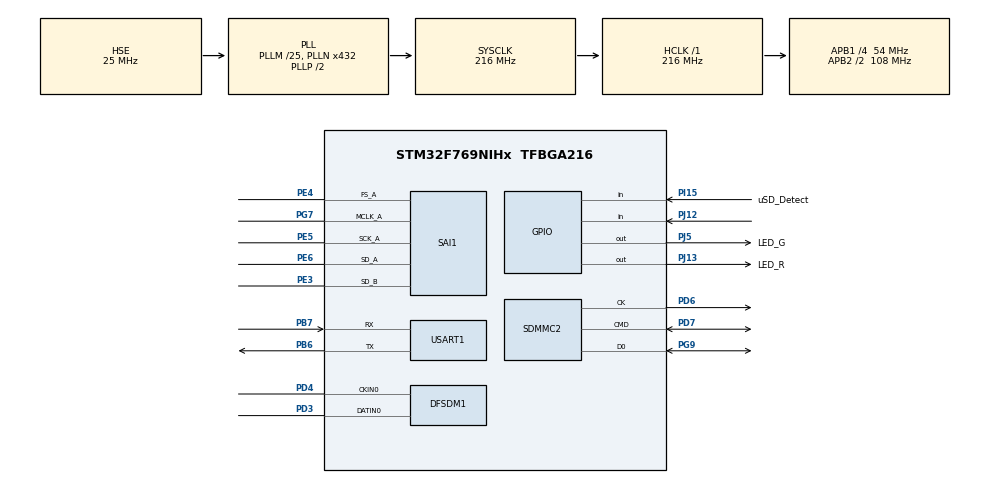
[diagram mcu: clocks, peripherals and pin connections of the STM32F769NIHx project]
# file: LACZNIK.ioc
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DFSDM1.FastMode_reg_FIL0=ENABLE
DFSDM1.FilterOrder_CH0=DFSDM_CHANNEL_FASTSINC_ORDER
DFSDM1.Filter_regChannel_FIL0=DFSDM_CHANNEL_0
DFSDM1.Fosr_FIL0=64
Dma.Request0=SDMMC2_RX
Dma.Request1=SDMMC2_TX
Dma.Request2=SAI1_A
Dma.Request3=SAI1_B
Dma.SAI1_A.2.Direction=DMA_MEMORY_TO_PERIPH
Dma.SAI1_A.2.FIFOMode=DMA_FIFOMODE_ENABLE
Dma.SAI1_A.2.FIFOThreshold=DMA_FIFO_THRESHOLD_FULL
Dma.SAI1_A.2.Instance=DMA2_Stream1
Dma.SAI1_A.2.MemBurst=DMA_MBURST_SINGLE
Dma.SAI1_A.2.MemDataAlignment=DMA_MDATAALIGN_HALFWORD
Dma.SAI1_A.2.MemInc=DMA_MINC_ENABLE
Dma.SAI1_A.2.Mode=DMA_CIRCULAR
Dma.SAI1_A.2.PeriphBurst=DMA_PBURST_SINGLE
Dma.SAI1_A.2.PeriphDataAlignment=DMA_PDATAALIGN_HALFWORD
Dma.SAI1_A.2.PeriphInc=DMA_PINC_DISABLE
Dma.SAI1_A.2.Priority=DMA_PRIORITY_HIGH
Dma.SAI1_B.3.Direction=DMA_PERIPH_TO_MEMORY
Dma.SAI1_B.3.FIFOMode=DMA_FIFOMODE_DISABLE
Dma.SAI1_B.3.Instance=DMA2_Stream4
Dma.SAI1_B.3.MemDataAlignment=DMA_MDATAALIGN_HALFWORD
Dma.SAI1_B.3.MemInc=DMA_MINC_ENABLE
Dma.SAI1_B.3.Mode=DMA_CIRCULAR
Dma.SAI1_B.3.PeriphDataAlignment=DMA_PDATAALIGN_HALFWORD
Dma.SAI1_B.3.PeriphInc=DMA_PINC_DISABLE
Dma.SAI1_B.3.Priority=DMA_PRIORITY_HIGH
Dma.SDMMC2_RX.0.Direction=DMA_PERIPH_TO_MEMORY
Dma.SDMMC2_RX.0.FIFOMode=DMA_FIFOMODE_ENABLE
Dma.SDMMC2_RX.0.FIFOThreshold=DMA_FIFO_THRESHOLD_FULL
Dma.SDMMC2_RX.0.Instance=DMA2_Stream0
Dma.SDMMC2_RX.0.MemBurst=DMA_MBURST_INC4
Dma.SDMMC2_RX.0.MemDataAlignment=DMA_MDATAALIGN_WORD
Dma.SDMMC2_RX.0.MemInc=DMA_MINC_ENABLE
Dma.SDMMC2_RX.0.Mode=DMA_PFCTRL
Dma.SDMMC2_RX.0.PeriphBurst=DMA_PBURST_INC4
Dma.SDMMC2_RX.0.PeriphDataAlignment=DMA_PDATAALIGN_WORD
Dma.SDMMC2_RX.0.PeriphInc=DMA_PINC_DISABLE
Dma.SDMMC2_RX.0.Priority=DMA_PRIORITY_LOW
Dma.SDMMC2_TX.1.Direction=DMA_MEMORY_TO_PERIPH
Dma.SDMMC2_TX.1.FIFOMode=DMA_FIFOMODE_ENABLE
Dma.SDMMC2_TX.1.FIFOThreshold=DMA_FIFO_THRESHOLD_FULL
Dma.SDMMC2_TX.1.Instance=DMA2_Stream5
Dma.SDMMC2_TX.1.MemBurst=DMA_MBURST_INC4
Dma.SDMMC2_TX.1.MemDataAlignment=DMA_MDATAALIGN_WORD
Dma.SDMMC2_TX.1.MemInc=DMA_MINC_ENABLE
Dma.SDMMC2_TX.1.Mode=DMA_PFCTRL
Dma.SDMMC2_TX.1.PeriphBurst=DMA_PBURST_INC4
Dma.SDMMC2_TX.1.PeriphDataAlignment=DMA_PDATAALIGN_WORD
Dma.SDMMC2_TX.1.PeriphInc=DMA_PINC_DISABLE
Dma.SDMMC2_TX.1.Priority=DMA_PRIORITY_LOW
FATFS.BSP.number=1
FATFS.USE_DMA_CODE_SD=1
FATFS0.BSP.STBoard=false
FATFS0.BSP.api=Unknown
FATFS0.BSP.instance=PI15
FATFS0.BSP.ip=GPIO
FATFS0.BSP.mode=Input
FATFS0.BSP.name=Detect_SDIO
FATFS0.BSP.solution=PI15
FREERTOS.INCLUDE_uxTaskGetStackHighWaterMark=0
FREERTOS.Queues01=AudioQueue,4,uint8_t,0,Dynamic,NULL,NULL
FREERTOS.Tasks01=SDCardTask,0,1024,StartSDCardTask,Default,NULL,Dynamic,NULL,NULL;GUI_Task,0,128,StartGUI_Task,Default,NULL,Dynamic,NULL,NULL;Record_Task,-3,2048,StartRecordTask,Default,NULL,Dynamic,NULL,NULL
FREERTOS.configTOTAL_HEAP_SIZE=49152
FREERTOS.configUSE_COUNTING_SEMAPHORES=1
FREERTOS.configUSE_NEWLIB_REENTRANT=1
Mcu.Family=STM32F7
Mcu.Name=STM32F769NIHx
Mcu.Package=TFBGA216
NVIC.DFSDM1_FLT0_IRQn=true\:5\:0\:false\:false\:true\:true\:true\:true\:true
NVIC.DMA2_Stream0_IRQn=true\:5\:0\:false\:false\:true\:true\:false\:true\:true
NVIC.DMA2_Stream1_IRQn=true\:5\:0\:false\:false\:true\:true\:false\:true\:true
NVIC.DMA2_Stream4_IRQn=true\:5\:0\:false\:false\:true\:true\:false\:true\:true
NVIC.DMA2_Stream5_IRQn=true\:5\:0\:false\:false\:true\:true\:false\:true\:true
NVIC.PriorityGroup=NVIC_PRIORITYGROUP_4
NVIC.SDMMC2_IRQn=true\:5\:0\:false\:false\:true\:true\:true\:true\:true
PA13.Mode=Serial_Wire
PA13.Signal=SYS_JTMS-SWDIO
PA14.Mode=Serial_Wire
PA14.Signal=SYS_JTCK-SWCLK
PB6.Mode=Asynchronous
PB6.Signal=USART1_TX
PB7.Mode=Asynchronous
PB7.Signal=USART1_RX
PD3.Signal=S_DATAIN0DFSDM1
PD4.Signal=S_CKIN0DFSDM1
PD6.Mode=SD_1_bit
PD6.Signal=SDMMC2_CK
PD7.Mode=SD_1_bit
PD7.Signal=SDMMC2_CMD
PE3.GPIO_Speed=GPIO_SPEED_FREQ_HIGH
PE3.Mode=SAI_B_SyncSlave
PE3.Signal=SAI1_SD_B
PE4.GPIO_Speed=GPIO_SPEED_FREQ_HIGH
PE4.Mode=SAI_A_MasterWithClock
PE4.Signal=SAI1_FS_A
PE5.GPIO_Speed=GPIO_SPEED_FREQ_HIGH
PE5.Mode=SAI_A_MasterWithClock
PE5.Signal=SAI1_SCK_A
PE6.GPIO_Speed=GPIO_SPEED_FREQ_HIGH
PE6.Mode=SAI_A_MasterWithClock
PE6.Signal=SAI1_SD_A
PG7.GPIO_Speed=GPIO_SPEED_FREQ_HIGH
PG7.Mode=SAI_A_MasterWithClock
PG7.Signal=SAI1_MCLK_A
PG9.Mode=SD_1_bit
PG9.Signal=SDMMC2_D0
PH0/OSC_IN.Mode=HSE-External-Oscillator
PH0/OSC_IN.Signal=RCC_OSC_IN
PH1/OSC_OUT.Mode=HSE-External-Oscillator
PH1/OSC_OUT.Signal=RCC_OSC_OUT
PI15.GPIO_Label=uSD_Detect
PI15.GPIO_PuPd=GPIO_PULLUP
PI15.Signal=GPIO_Input
PJ12.Signal=GPIO_Input
PJ13.GPIO_Label=LED_R
PJ13.Signal=GPIO_Output
PJ5.GPIO_Label=LED_G
PJ5.Signal=GPIO_Output
ProjectManager.HeapSize=0x400
ProjectManager.StackSize=0x800
ProjectManager.TargetToolchain=STM32CubeIDE
RCC.AHBFreq_Value=216000000
RCC.APB1CLKDivider=RCC_HCLK_DIV4
RCC.APB1Freq_Value=54000000
RCC.APB1TimFreq_Value=108000000
RCC.APB2CLKDivider=RCC_HCLK_DIV2
RCC.APB2Freq_Value=108000000
RCC.APB2TimFreq_Value=216000000
RCC.CortexFreq_Value=216000000
RCC.HCLKFreq_Value=216000000
RCC.HSE_VALUE=25000000
RCC.HSI_VALUE=16000000
RCC.LSE_VALUE=32768
RCC.PLLI2SN=429
RCC.PLLI2SQDiv=19
RCC.PLLM=25
RCC.PLLN=432
RCC.PLLQ=9
RCC.PLLSAIQ=3
RCC.PLLSourceVirtual=RCC_PLLSOURCE_HSE
RCC.SAI1CLockSelection=RCC_SAI1CLKSOURCE_PLLI2S
RCC.SDMMC2ClockSelection=RCC_SDMMC2CLKSOURCE_CLK48
RCC.SYSCLKFreq_VALUE=216000000
RCC.SYSCLKSource=RCC_SYSCLKSOURCE_PLLCLK
RCC.USBFreq_Value=48000000
RCC.VCOOutputFreq_Value=432000000
SAI1.ActiveFrameLength-SAI_A_MasterWithClock=32
SAI1.ActiveFrameLength-SAI_B_SyncSlave=32
SAI1.AudioFrequency-SAI_A_MasterWithClock=SAI_AUDIO_FREQUENCY_44K
SAI1.DataSize-SAI_A_MasterWithClock=SAI_DATASIZE_16
SAI1.DataSize-SAI_B_SyncSlave=SAI_DATASIZE_16
SAI1.ErrorAudioFreq-SAI_A_MasterWithClock=0.0 %
SAI1.FIFOThreshold-SAI_A_MasterWithClock=SAI_FIFOTHRESHOLD_1QF
SAI1.FIFOThreshold-SAI_B_SyncSlave=SAI_FIFOTHRESHOLD_1QF
SAI1.FSDefinition-SAI_A_MasterWithClock=SAI_FS_CHANNEL_IDENTIFICATION
SAI1.FSDefinition-SAI_B_SyncSlave=SAI_FS_CHANNEL_IDENTIFICATION
SAI1.FSOffset-SAI_A_MasterWithClock=SAI_FS_BEFOREFIRSTBIT
SAI1.FSOffset-SAI_B_SyncSlave=SAI_FS_BEFOREFIRSTBIT
SAI1.FrameLength-SAI_A_MasterWithClock=64
SAI1.FrameLength-SAI_B_SyncSlave=64
SAI1.Instance-SAI_A_MasterWithClock=SAI$Index_Block_A
SAI1.Instance-SAI_B_SyncSlave=SAI$Index_Block_B
SAI1.MClockEnable-SAI_A_MasterWithClock=SAI_MASTERCLOCK_ENABLE
SAI1.OutputDrive-SAI_A_MasterWithClock=SAI_OUTPUTDRIVE_ENABLE
SAI1.RealAudioFreq-SAI_A_MasterWithClock=44.099 KHz
SAI1.SlotActive-SAI_A_MasterWithClock=0x0000000F
SAI1.SlotActive-SAI_B_SyncSlave=0x0000000F
SAI1.SlotNumber-SAI_A_MasterWithClock=4
SAI1.SlotNumber-SAI_B_SyncSlave=4
SAI1.TriState-SAI_B_SyncSlave=SAI_OUTPUT_RELEASED
SAI1.VirtualMode-SAI_A_MasterWithClock=VM_MASTER
SAI1.VirtualMode-SAI_B_SyncSlave=VM_SLAVE
SAI1.VirtualSlotActive-SAI_A_MasterWithClock=SAI_SLOT_USERSETTING
SAI1.VirtualSlotActive-SAI_B_SyncSlave=SAI_SLOT_USERSETTING
SAI1.VirtualSlotActive0-SAI_A_MasterWithClock=true
SAI1.VirtualSlotActive0-SAI_B_SyncSlave=true
SAI1.VirtualSlotActive1-SAI_A_MasterWithClock=true
SAI1.VirtualSlotActive1-SAI_B_SyncSlave=true
SAI1.VirtualSlotActive2-SAI_A_MasterWithClock=true
SAI1.VirtualSlotActive2-SAI_B_SyncSlave=true
SAI1.VirtualSlotActive3-SAI_A_MasterWithClock=true
SAI1.VirtualSlotActive3-SAI_B_SyncSlave=true
SH.S_CKIN0DFSDM1.0=DFSDM1_CKIN0,PDM_SPI_input_from_ch0_and_external_clock
SH.S_DATAIN0DFSDM1.0=DFSDM1_DATIN0,PDM_SPI_input_from_ch0_and_external_clock
USART1.VirtualMode-Asynchronous=VM_ASYNC
VP_FATFS_VS_SDIO.Mode=SDIO
VP_FREERTOS_VS_CMSIS_V1.Mode=CMSIS_V1
board=STM32F769I-DISCO

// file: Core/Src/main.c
/* USER CODE BEGIN Header */
/**
  ******************************************************************************
  * @file           : main.c
  * @brief          : Main program body
  ******************************************************************************
  * @attention
  *
  * Copyright (c) 2025 STMicroelectronics.
  * All rights reserved.
  *
  * This software is licensed under terms that can be found in the LICENSE file
  * in the root directory of this software component.
  * If no LICENSE file comes with this software, it is provided AS-IS.
  *
  ******************************************************************************
  */
/* USER CODE END Header */
#include "main.h"
#include "cmsis_os.h"

/* USER CODE BEGIN Includes */
#include <string.h>
#include "stm32f769i_discovery.h"
#include "math.h"
#include "My_Audio.h"
#include <stdio.h>

/* USER CODE END Includes */

/* USER CODE BEGIN PD */

#define BUFFER_SIZE		4096

volatile uint32_t audio_p = 0; // Utrzymuje ciągłość fazową sinusa

/* USER CODE END PD */

DFSDM_Filter_HandleTypeDef hdfsdm1_filter0;
DFSDM_Channel_HandleTypeDef hdfsdm1_channel0;

SAI_HandleTypeDef hsai_BlockA1;
SAI_HandleTypeDef hsai_BlockB1;
DMA_HandleTypeDef hdma_sai1_a;
DMA_HandleTypeDef hdma_sai1_b;

SD_HandleTypeDef hsd2;
DMA_HandleTypeDef hdma_sdmmc2_rx;
DMA_HandleTypeDef hdma_sdmmc2_tx;

UART_HandleTypeDef huart1;

osThreadId SDCardTaskHandle;
osThreadId GUI_TaskHandle;
osThreadId Record_TaskHandle;
osMessageQId AudioQueueHandle;
SemaphoreHandle_t recordTriggerSemaphore;
SemaphoreHandle_t xBufferReadySemaphore;

TaskHandle_t xRecordingTaskHandle;

/* USER CODE BEGIN PV */

extern SAI_HandleTypeDef haudio_out_sai, haudio_in_sai;
/* USER CODE END PV */

void SystemClock_Config(void);
void PeriphCommonClock_Config(void);
static void MX_GPIO_Init(void);
static void MX_DMA_Init(void);
static void MX_SDMMC2_SD_Init(void);
static void MX_USART1_UART_Init(void);
static void MX_SAI1_Init(void);
static void MX_DFSDM1_Init(void);
void StartGUI_Task(void const * argument);

/* USER CODE BEGIN PFP */
extern void StartSDCardTask(void const * argument);
extern void StartRecordTask(void const * argument);
extern void AudioInit(uint32_t AudioFreq);
void BSP_AUDIO_IN_TransferComplete_CallBack(void);
void BSP_AUDIO_IN_HalfTransfer_CallBack(void);

extern void MX_FATFS_Init(void);
/* USER CODE END PFP */

int main(void)
{

  /* MCU Configuration--------------------------------------------------------*/

  /* Reset of all peripherals, Initializes the Flash interface and the Systick. */
  HAL_Init();

  /* Configure the system clock */
  SystemClock_Config();

  /* Configure the peripherals common clocks */
  PeriphCommonClock_Config();

  /* Initialize all configured peripherals */
  MX_GPIO_Init();
  MX_DMA_Init();
  MX_SDMMC2_SD_Init();
  MX_USART1_UART_Init();
  MX_FATFS_Init();
  MX_SAI1_Init();
  MX_DFSDM1_Init();
  /* USER CODE BEGIN 2 */
  AudioInit(AUDIO_FREQUENCY_44K);
  //Audio_passThrough();
  /* USER CODE END 2 */

  /* Create the queue(s) */
  /* definition and creation of AudioQueue */
  osMessageQDef(AudioQueue, 4, AudioChunk_t);
  AudioQueueHandle = osMessageCreate(osMessageQ(AudioQueue), NULL);

  /* USER CODE BEGIN RTOS_QUEUES */
  /* add queues, ... */
  recordTriggerSemaphore = xSemaphoreCreateBinary();
  xBufferReadySemaphore = xSemaphoreCreateBinary();

  /* USER CODE END RTOS_QUEUES */

  /* Create the thread(s) */
  /* definition and creation of SDCardTask */
  osThreadDef(SDCardTask, StartSDCardTask, osPriorityAboveNormal, 0, 1024);
  SDCardTaskHandle = osThreadCreate(osThread(SDCardTask), NULL);

  /* definition and creation of GUI_Task */
  osThreadDef(GUI_Task, StartGUI_Task, osPriorityLow, 0, 512);
  GUI_TaskHandle = osThreadCreate(osThread(GUI_Task), NULL);

  /* definition and creation of Record_Task */
  osThreadDef(Record_Task, StartRecordTask, osPriorityHigh, 0, 2048);
  Record_TaskHandle = osThreadCreate(osThread(Record_Task), NULL);

  /* Start scheduler */
  osKernelStart();

  /* We should never get here as control is now taken by the scheduler */

  /* Infinite loop */
  while (1)
  {

  }
}

void SystemClock_Config(void)
{
  RCC_OscInitTypeDef RCC_OscInitStruct = {0};
  RCC_ClkInitTypeDef RCC_ClkInitStruct = {0};

  /** Configure the main internal regulator output voltage
  */
  __HAL_RCC_PWR_CLK_ENABLE();
  __HAL_PWR_VOLTAGESCALING_CONFIG(PWR_REGULATOR_VOLTAGE_SCALE1);

  /** Initializes the RCC Oscillators according to the specified parameters
  * in the RCC_OscInitTypeDef structure.
  */
  RCC_OscInitStruct.OscillatorType = RCC_OSCILLATORTYPE_HSE;
  RCC_OscInitStruct.HSEState = RCC_HSE_ON;
  RCC_OscInitStruct.PLL.PLLState = RCC_PLL_ON;
  RCC_OscInitStruct.PLL.PLLSource = RCC_PLLSOURCE_HSE;
  RCC_OscInitStruct.PLL.PLLM = 25;
  RCC_OscInitStruct.PLL.PLLN = 432;
  RCC_OscInitStruct.PLL.PLLP = RCC_PLLP_DIV2;
  RCC_OscInitStruct.PLL.PLLQ = 4;
  RCC_OscInitStruct.PLL.PLLR = 2;
  if (HAL_RCC_OscConfig(&RCC_OscInitStruct) != HAL_OK)
  {
    Error_Handler();
  }

  /** Activate the Over-Drive mode
  */
  if (HAL_PWREx_EnableOverDrive() != HAL_OK)
  {
    Error_Handler();
  }

  /** Initializes the CPU, AHB and APB buses clocks
  */
  RCC_ClkInitStruct.ClockType = RCC_CLOCKTYPE_HCLK|RCC_CLOCKTYPE_SYSCLK
                              |RCC_CLOCKTYPE_PCLK1|RCC_CLOCKTYPE_PCLK2;
  RCC_ClkInitStruct.SYSCLKSource = RCC_SYSCLKSOURCE_PLLCLK;
  RCC_ClkInitStruct.AHBCLKDivider = RCC_SYSCLK_DIV1;
  RCC_ClkInitStruct.APB1CLKDivider = RCC_HCLK_DIV4;
  RCC_ClkInitStruct.APB2CLKDivider = RCC_HCLK_DIV2;

  if (HAL_RCC_ClockConfig(&RCC_ClkInitStruct, FLASH_LATENCY_7) != HAL_OK)
  {
    Error_Handler();
  }
}

void PeriphCommonClock_Config(void)
{
  RCC_PeriphCLKInitTypeDef PeriphClkInitStruct = {0};

  /** Initializes the peripherals clock
  */
  PeriphClkInitStruct.PeriphClockSelection = RCC_PERIPHCLK_SAI1;
  PeriphClkInitStruct.PLLI2S.PLLI2SN = 429;
  PeriphClkInitStruct.PLLI2S.PLLI2SP = RCC_PLLP_DIV2;
  PeriphClkInitStruct.PLLI2S.PLLI2SR = 2;
  PeriphClkInitStruct.PLLI2S.PLLI2SQ = 2;
  PeriphClkInitStruct.PLLI2SDivQ = 19;
  PeriphClkInitStruct.Sai1ClockSelection = RCC_SAI1CLKSOURCE_PLLI2S;
  if (HAL_RCCEx_PeriphCLKConfig(&PeriphClkInitStruct) != HAL_OK)
  {
    Error_Handler();
  }
}

static void MX_DFSDM1_Init(void)
{

  hdfsdm1_filter0.Instance = DFSDM1_Filter0;
  hdfsdm1_filter0.Init.RegularParam.Trigger = DFSDM_FILTER_SW_TRIGGER;
  hdfsdm1_filter0.Init.RegularParam.FastMode = ENABLE;
  hdfsdm1_filter0.Init.RegularParam.DmaMode = DISABLE;
  hdfsdm1_filter0.Init.FilterParam.SincOrder = DFSDM_FILTER_FASTSINC_ORDER;
  hdfsdm1_filter0.Init.FilterParam.Oversampling = 64;
  hdfsdm1_filter0.Init.FilterParam.IntOversampling = 1;
  HAL_DFSDM_FilterInit(&hdfsdm1_filter0);
  hdfsdm1_channel0.Instance = DFSDM1_Channel0;
  hdfsdm1_channel0.Init.OutputClock.Activation = DISABLE;
  hdfsdm1_channel0.Init.OutputClock.Selection = DFSDM_CHANNEL_OUTPUT_CLOCK_SYSTEM;
  hdfsdm1_channel0.Init.OutputClock.Divider = 2;
  hdfsdm1_channel0.Init.Input.Multiplexer = DFSDM_CHANNEL_EXTERNAL_INPUTS;
  hdfsdm1_channel0.Init.Input.DataPacking = DFSDM_CHANNEL_STANDARD_MODE;
  hdfsdm1_channel0.Init.Input.Pins = DFSDM_CHANNEL_SAME_CHANNEL_PINS;
  hdfsdm1_channel0.Init.SerialInterface.Type = DFSDM_CHANNEL_SPI_RISING;
  hdfsdm1_channel0.Init.SerialInterface.SpiClock = DFSDM_CHANNEL_SPI_CLOCK_EXTERNAL;
  hdfsdm1_channel0.Init.Awd.FilterOrder = DFSDM_CHANNEL_FASTSINC_ORDER;
  hdfsdm1_channel0.Init.Awd.Oversampling = 1;
  hdfsdm1_channel0.Init.Offset = 0;
  hdfsdm1_channel0.Init.RightBitShift = 0x00;
  if (HAL_DFSDM_ChannelInit(&hdfsdm1_channel0) != HAL_OK)
  {
    Error_Handler();
  }
  HAL_DFSDM_FilterConfigRegChannel(&hdfsdm1_filter0, DFSDM_CHANNEL_0, DFSDM_CONTINUOUS_CONV_ON);

}

static void MX_SAI1_Init(void)
{

  /* USER CODE BEGIN SAI1_Init 0 */
    /**Configure the Systick interrupt time
    */
  HAL_SYSTICK_Config(HAL_RCC_GetHCLKFreq()/1000);

    /**Configure the Systick
    */
  HAL_SYSTICK_CLKSourceConfig(SYSTICK_CLKSOURCE_HCLK);

  /* SysTick_IRQn interrupt configuration */
  HAL_NVIC_SetPriority(SysTick_IRQn, 0, 0);
  /* USER CODE END SAI1_Init 0 */

  hsai_BlockA1.Instance = SAI1_Block_A;
  hsai_BlockA1.Init.Protocol = SAI_FREE_PROTOCOL;
  hsai_BlockA1.Init.AudioMode = SAI_MODEMASTER_TX;
  hsai_BlockA1.Init.DataSize = SAI_DATASIZE_16;
  hsai_BlockA1.Init.FirstBit = SAI_FIRSTBIT_MSB;
  hsai_BlockA1.Init.ClockStrobing = SAI_CLOCKSTROBING_FALLINGEDGE;
  hsai_BlockA1.Init.Synchro = SAI_ASYNCHRONOUS;
  hsai_BlockA1.Init.OutputDrive = SAI_OUTPUTDRIVE_ENABLE;
  hsai_BlockA1.Init.NoDivider = SAI_MASTERDIVIDER_ENABLE;
  hsai_BlockA1.Init.FIFOThreshold = SAI_FIFOTHRESHOLD_1QF;
  hsai_BlockA1.Init.AudioFrequency = SAI_AUDIO_FREQUENCY_44K;
  hsai_BlockA1.Init.SynchroExt = SAI_SYNCEXT_DISABLE;
  hsai_BlockA1.Init.MonoStereoMode = SAI_STEREOMODE;
  hsai_BlockA1.Init.CompandingMode = SAI_NOCOMPANDING;
  hsai_BlockA1.Init.TriState = SAI_OUTPUT_NOTRELEASED;
  hsai_BlockA1.FrameInit.FrameLength = 64;
  hsai_BlockA1.FrameInit.ActiveFrameLength = 32;
  hsai_BlockA1.FrameInit.FSDefinition = SAI_FS_CHANNEL_IDENTIFICATION;
  hsai_BlockA1.FrameInit.FSPolarity = SAI_FS_ACTIVE_LOW;
  hsai_BlockA1.FrameInit.FSOffset = SAI_FS_BEFOREFIRSTBIT;
  hsai_BlockA1.SlotInit.FirstBitOffset = 0;
  hsai_BlockA1.SlotInit.SlotSize = SAI_SLOTSIZE_DATASIZE;
  hsai_BlockA1.SlotInit.SlotNumber = 4;
  hsai_BlockA1.SlotInit.SlotActive = 0x0000000F;
  if (HAL_SAI_Init(&hsai_BlockA1) != HAL_OK)
  {
    Error_Handler();
  }
  hsai_BlockB1.Instance = SAI1_Block_B;
  hsai_BlockB1.Init.Protocol = SAI_FREE_PROTOCOL;
  hsai_BlockB1.Init.AudioMode = SAI_MODESLAVE_RX;
  hsai_BlockB1.Init.DataSize = SAI_DATASIZE_16;
  hsai_BlockB1.Init.FirstBit = SAI_FIRSTBIT_MSB;
  hsai_BlockB1.Init.ClockStrobing = SAI_CLOCKSTROBING_FALLINGEDGE;
  hsai_BlockB1.Init.Synchro = SAI_SYNCHRONOUS;
  hsai_BlockB1.Init.OutputDrive = SAI_OUTPUTDRIVE_DISABLE;
  hsai_BlockB1.Init.FIFOThreshold = SAI_FIFOTHRESHOLD_1QF;
  hsai_BlockB1.Init.SynchroExt = SAI_SYNCEXT_DISABLE;
  hsai_BlockB1.Init.MonoStereoMode = SAI_STEREOMODE;
  hsai_BlockB1.Init.CompandingMode = SAI_NOCOMPANDING;
  hsai_BlockB1.Init.TriState = SAI_OUTPUT_RELEASED;
  hsai_BlockB1.FrameInit.FrameLength = 64;
  hsai_BlockB1.FrameInit.ActiveFrameLength = 32;
  hsai_BlockB1.FrameInit.FSDefinition = SAI_FS_CHANNEL_IDENTIFICATION;
  hsai_BlockB1.FrameInit.FSPolarity = SAI_FS_ACTIVE_LOW;
  hsai_BlockB1.FrameInit.FSOffset = SAI_FS_BEFOREFIRSTBIT;
  hsai_BlockB1.SlotInit.FirstBitOffset = 0;
  hsai_BlockB1.SlotInit.SlotSize = SAI_SLOTSIZE_DATASIZE;
  hsai_BlockB1.SlotInit.SlotNumber = 4;
  hsai_BlockB1.SlotInit.SlotActive = 0x0000000F;
  if (HAL_SAI_Init(&hsai_BlockB1) != HAL_OK)
  {
    Error_Handler();
  }

}

static void MX_SDMMC2_SD_Init(void)
{

  hsd2.Instance = SDMMC2;
  hsd2.Init.ClockEdge = SDMMC_CLOCK_EDGE_RISING;
  hsd2.Init.ClockBypass = SDMMC_CLOCK_BYPASS_DISABLE;
  hsd2.Init.ClockPowerSave = SDMMC_CLOCK_POWER_SAVE_DISABLE;
  hsd2.Init.BusWide = SDMMC_BUS_WIDE_1B;
  hsd2.Init.HardwareFlowControl = SDMMC_HARDWARE_FLOW_CONTROL_DISABLE;
  hsd2.Init.ClockDiv = 0;

}

static void MX_USART1_UART_Init(void)
{

  huart1.Instance = USART1;
  huart1.Init.BaudRate = 115200;
  huart1.Init.WordLength = UART_WORDLENGTH_8B;
  huart1.Init.StopBits = UART_STOPBITS_1;
  huart1.Init.Parity = UART_PARITY_NONE;
  huart1.Init.Mode = UART_MODE_TX_RX;
  huart1.Init.HwFlowCtl = UART_HWCONTROL_NONE;
  huart1.Init.OverSampling = UART_OVERSAMPLING_16;
  huart1.Init.OneBitSampling = UART_ONE_BIT_SAMPLE_DISABLE;
  huart1.AdvancedInit.AdvFeatureInit = UART_ADVFEATURE_NO_INIT;
  if (HAL_UART_Init(&huart1) != HAL_OK)
  {
    Error_Handler();
  }

}

static void MX_DMA_Init(void)
{

  /* DMA controller clock enable */
  __HAL_RCC_DMA2_CLK_ENABLE();

  /* DMA interrupt init */
  /* DMA2_Stream0_IRQn interrupt configuration */
  HAL_NVIC_SetPriority(DMA2_Stream0_IRQn, 5, 0);
  HAL_NVIC_EnableIRQ(DMA2_Stream0_IRQn);
  /* DMA2_Stream1_IRQn interrupt configuration */
  HAL_NVIC_SetPriority(DMA2_Stream1_IRQn, 5, 0);
  HAL_NVIC_EnableIRQ(DMA2_Stream1_IRQn);
  /* DMA2_Stream4_IRQn interrupt configuration */
  HAL_NVIC_SetPriority(DMA2_Stream4_IRQn, 5, 0);
  HAL_NVIC_EnableIRQ(DMA2_Stream4_IRQn);
  /* DMA2_Stream5_IRQn interrupt configuration */
  HAL_NVIC_SetPriority(DMA2_Stream5_IRQn, 5, 0);
  HAL_NVIC_EnableIRQ(DMA2_Stream5_IRQn);

}

static void MX_GPIO_Init(void)
{
  GPIO_InitTypeDef GPIO_InitStruct = {0};

  /* GPIO Ports Clock Enable */
  __HAL_RCC_GPIOE_CLK_ENABLE();
  __HAL_RCC_GPIOD_CLK_ENABLE();
  __HAL_RCC_GPIOA_CLK_ENABLE();
  __HAL_RCC_GPIOB_CLK_ENABLE();
  __HAL_RCC_GPIOJ_CLK_ENABLE();
  __HAL_RCC_GPIOG_CLK_ENABLE();
  __HAL_RCC_GPIOH_CLK_ENABLE();
  __HAL_RCC_GPIOI_CLK_ENABLE();

  /*Configure GPIO pin Output Level */
  HAL_GPIO_WritePin(GPIOJ, LED_R_Pin|LED_G_Pin, GPIO_PIN_RESET);

  /*Configure GPIO pins : LED_R_Pin LED_G_Pin */
  GPIO_InitStruct.Pin = LED_R_Pin|LED_G_Pin;
  GPIO_InitStruct.Mode = GPIO_MODE_OUTPUT_PP;
  GPIO_InitStruct.Pull = GPIO_NOPULL;
  GPIO_InitStruct.Speed = GPIO_SPEED_FREQ_LOW;
  HAL_GPIO_Init(GPIOJ, &GPIO_InitStruct);

  /*Configure GPIO pin : PJ12 */
  GPIO_InitStruct.Pin = GPIO_PIN_12;
  GPIO_InitStruct.Mode = GPIO_MODE_INPUT;
  GPIO_InitStruct.Pull = GPIO_NOPULL;
  HAL_GPIO_Init(GPIOJ, &GPIO_InitStruct);

  /*Configure GPIO pin : uSD_Detect_Pin */
  GPIO_InitStruct.Pin = uSD_Detect_Pin;
  GPIO_InitStruct.Mode = GPIO_MODE_INPUT;
  GPIO_InitStruct.Pull = GPIO_PULLUP;
  HAL_GPIO_Init(uSD_Detect_GPIO_Port, &GPIO_InitStruct);

}

/* USER CODE BEGIN 4 */

void HAL_SAI_TxHalfCpltCallback(SAI_HandleTypeDef *hsai)
{
	audio_tx_buffer_state = BUFFER_OFFSET_HALF;
}

void HAL_SAI_TxCpltCallback(SAI_HandleTypeDef *hsai)
{
	audio_tx_buffer_state = BUFFER_OFFSET_FULL;
}

void HAL_SAI_RxCpltCallback(SAI_HandleTypeDef *hsai)
{

	BSP_AUDIO_IN_TransferComplete_CallBack();

}

void HAL_SAI_RxHalfCpltCallback(SAI_HandleTypeDef *hsai)
{

	BSP_AUDIO_IN_HalfTransfer_CallBack();

}

void BSP_AUDIO_IN_TransferComplete_CallBack(void)
{
    // Set the buffer state
    audio_rec_buffer_state = BUFFER_OFFSET_FULL;

    // Notify the task that the full buffer is ready

    BaseType_t xHigherPriorityTaskWoken = pdFALSE;
    vTaskNotifyGiveFromISR(xRecordingTaskHandle, &xHigherPriorityTaskWoken); // Notify task
    portYIELD_FROM_ISR(xHigherPriorityTaskWoken); // Yield to higher priority tasks
}

void BSP_AUDIO_IN_HalfTransfer_CallBack(void)
{
    // Set the buffer state
    audio_rec_buffer_state = BUFFER_OFFSET_HALF;

    // Notify the task that the half-buffer is ready

    BaseType_t xHigherPriorityTaskWoken = pdFALSE;
    vTaskNotifyGiveFromISR(xRecordingTaskHandle, &xHigherPriorityTaskWoken); // Notify task
    portYIELD_FROM_ISR(xHigherPriorityTaskWoken); // Yield to higher priority tasks
}
/* USER CODE END 4 */

void StartGUI_Task(void const * argument)
{
  /* USER CODE BEGIN StartGUI_Task */
	uint16_t toggleCount = 0;
  /* Infinite loop */
  for(;;)
  {
      // Toggle LED
     // HAL_GPIO_TogglePin(LED_R_GPIO_Port, LED_R_Pin);
      toggleCount++;

      if (toggleCount == 5)
      {
          xSemaphoreGive(recordTriggerSemaphore); // signal record task
          toggleCount = 0;
      }

      osDelay(500); // Run every 500ms
  }
  /* USER CODE END StartGUI_Task */
}

void Error_Handler(void)
{
  /* USER CODE BEGIN Error_Handler_Debug */
  /* User can add his own implementation to report the HAL error return state */
  __disable_irq();
  while (1)
  {
	  HAL_GPIO_TogglePin(LED_R_GPIO_Port, LED_R_Pin);
	  HAL_Delay(2000);
  }
  /* USER CODE END Error_Handler_Debug */
}
